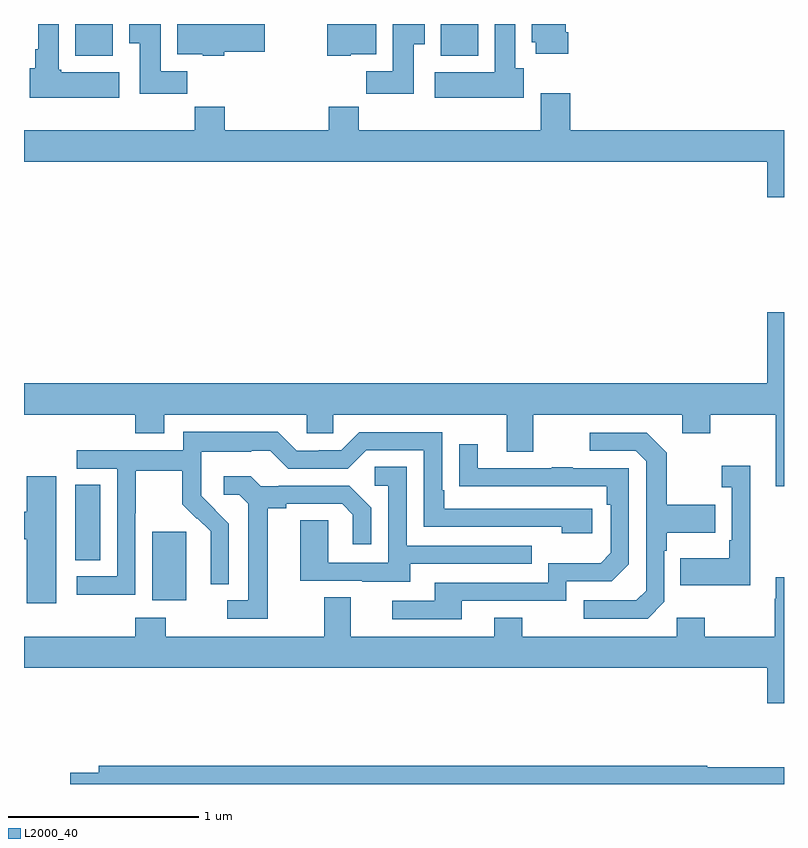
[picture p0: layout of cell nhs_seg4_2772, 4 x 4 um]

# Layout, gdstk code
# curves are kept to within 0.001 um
import gdstk
lib = gdstk.Library(unit=1e-6, precision=1e-09)
def R(c, l, rs):  # rectangles x0, y0, x1, y1
    for r in rs: c.add(gdstk.rectangle(r[:2], r[2:], *l))
def P(c, l, *ps):  # polygons
    for p in ps: c.add(gdstk.Polygon(p, *l))
L2000_40 = (2000, 40)

nhs_seg4_2772 = lib.new_cell('nhs_seg4_2772')
R(nhs_seg4_2772, L2000_40, [(257.675,771.866,257.854,772.227), (257.27,772.078,257.401,772.475), (257.27,774.734,257.467,774.9), (259.193,774.734,259.39,774.9)])
P(nhs_seg4_2772, L2000_40, [(259.051,774.793),(259.108,774.793),(259.108,774.9),(258.941,774.9),(258.941,774.652),(258.802,774.652),(258.802,774.534),(259.051,774.534)],
  [(258.72,774.74),(258.853,774.74),(258.853,774.9),(258.595,774.9),(258.595,774.734),(258.72,774.734)],
  [(259.865,774.856),(259.852,774.856),(259.852,774.9),(259.673,774.9),(259.673,774.804),(259.694,774.804),(259.694,774.744),(259.865,774.744)],
  [(258.054,774.754),(258.267,774.754),(258.267,774.9),(257.807,774.9),(257.807,774.74),(257.94,774.74),(257.94,774.734),(258.054,774.734)],
  [(259.63,774.666),(259.585,774.666),(259.585,774.9),(259.478,774.9),(259.478,774.646),(259.161,774.646),(259.161,774.512),(259.63,774.512)],
  [(257.858,774.652),(257.719,774.652),(257.719,774.9),(257.555,774.9),(257.555,774.8),(257.609,774.8),(257.609,774.534),(257.858,774.534)],
  [(257.5,774.646),(257.196,774.646),(257.196,774.66),(257.182,774.66),(257.182,774.9),(257.075,774.9),(257.075,774.766),(257.06,774.766),(257.06,774.666),(257.03,774.666),(257.03,774.512),(257.5,774.512)],
  [(261,774.34),(259.874,774.34),(259.874,774.535),(259.721,774.535),(259.721,774.34),(258.761,774.34),(258.761,774.464),(258.605,774.464),(258.605,774.34),(258.056,774.34),(258.056,774.464),(257.899,774.464),(257.899,774.34),(257,774.34),(257,774.176),(260.912,774.176),(260.912,773.988),(261,773.988)],
  [(261,773.383),(260.912,773.383),(260.912,773.008),(257,773.008),(257,772.844),(257.585,772.844),(257.585,772.745),(257.737,772.745),(257.737,772.844),(258.489,772.844),(258.489,772.746),(258.627,772.746),(258.627,772.844),(259.541,772.844),(259.541,772.65),(259.681,772.65),(259.681,772.844),(260.465,772.844),(260.465,772.745),(260.613,772.745),(260.613,772.844),(260.957,772.844),(260.957,772.467),(261,772.467)],
  [(257.586,772.324),(257.589,772.324),(257.589,772.548),(257.833,772.548),(257.833,772.373),(257.91,772.296),(257.913,772.299),(257.984,772.229),(257.984,772.106),(257.982,772.106),(257.982,771.952),(258.078,771.952),(258.078,772.27),(257.932,772.418),(257.932,772.515),(257.934,772.515),(257.934,772.649),(258.197,772.649),(258.197,772.653),(258.297,772.653),(258.39,772.56),(258.705,772.56),(258.801,772.656),(259.104,772.656),(259.104,772.254),(259.829,772.254),(259.829,772.22),(259.99,772.22),(259.99,772.35),(259.213,772.35),(259.213,772.447),(259.2,772.447),(259.2,772.752),(258.765,772.752),(258.669,772.656),(258.551,772.656),(258.551,772.653),(258.435,772.653),(258.335,772.753),(257.838,772.753),(257.838,772.656),(257.277,772.656),(257.277,772.56),(257.49,772.56),(257.49,771.993),(257.277,771.993),(257.277,771.895),(257.586,771.895)],
  [(260.37,771.858),(260.37,772.127),(260.383,772.127),(260.383,772.223),(260.639,772.223),(260.639,772.371),(260.383,772.371),(260.383,772.643),(260.277,772.749),(259.977,772.749),(259.977,772.653),(260.22,772.653),(260.274,772.599),(260.274,771.918),(260.223,771.867),(259.947,771.867),(259.947,771.771),(260.283,771.771)],
  [(259.303,771.864),(259.854,771.864),(259.854,771.966),(260.094,771.966),(260.184,772.056),(260.184,772.563),(259.889,772.563),(259.889,772.568),(259.777,772.568),(259.777,772.563),(259.387,772.563),(259.387,772.687),(259.291,772.687),(259.291,772.468),(260.068,772.467),(260.068,772.37),(260.088,772.37),(260.088,772.116),(260.035,772.063),(259.758,772.063),(259.758,771.96),(259.163,771.96),(259.163,771.864),(258.939,771.864),(258.939,771.768),(259.303,771.768)],
  [(260.822,772.576),(260.673,772.576),(260.673,772.463),(260.724,772.463),(260.724,772.183),(260.712,772.183),(260.712,772.087),(260.455,772.087),(260.455,771.947),(260.822,771.947)],
  [(259.033,772.059),(259.673,772.059),(259.673,772.155),(259.014,772.155),(259.014,772.571),(258.846,772.571),(258.846,772.47),(258.918,772.47),(258.918,772.065),(258.6,772.065),(258.6,772.289),(258.455,772.289),(258.455,771.969),(258.779,771.969),(258.779,771.965),(259.033,771.965)],
  [(258.283,772.352),(258.379,772.352),(258.379,772.374),(258.674,772.374),(258.731,772.317),(258.731,772.161),(258.828,772.161),(258.828,772.354),(258.712,772.47),(258.34,772.47),(258.34,772.467),(258.246,772.467),(258.194,772.519),(258.051,772.519),(258.051,772.422),(258.132,772.422),(258.179,772.375),(258.179,771.867),(258.069,771.867),(258.069,771.771),(258.283,771.771)],
  [(257.17,772.519),(257.015,772.519),(257.015,772.334),(257,772.334),(257,772.187),(257.015,772.187),(257.015,771.852),(257.17,771.852)],
  [(261,771.988),(260.957,771.988),(260.957,771.875),(260.95,771.875),(260.95,771.676),(260.583,771.676),(260.583,771.775),(260.436,771.775),(260.436,771.676),(259.623,771.676),(259.623,771.775),(259.475,771.775),(259.475,771.676),(258.721,771.676),(258.721,771.884),(258.581,771.884),(258.581,771.676),(257.745,771.676),(257.745,771.775),(257.585,771.775),(257.585,771.676),(257,771.676),(257,771.512),(260.912,771.512),(260.912,771.324),(261,771.324)],
  [(261,770.989),(260.597,770.989),(260.597,770.996),(257.393,770.996),(257.393,770.96),(257.244,770.96),(257.244,770.9),(261,770.9)])

lib.write_gds('nhs_seg4_2772.gds')
